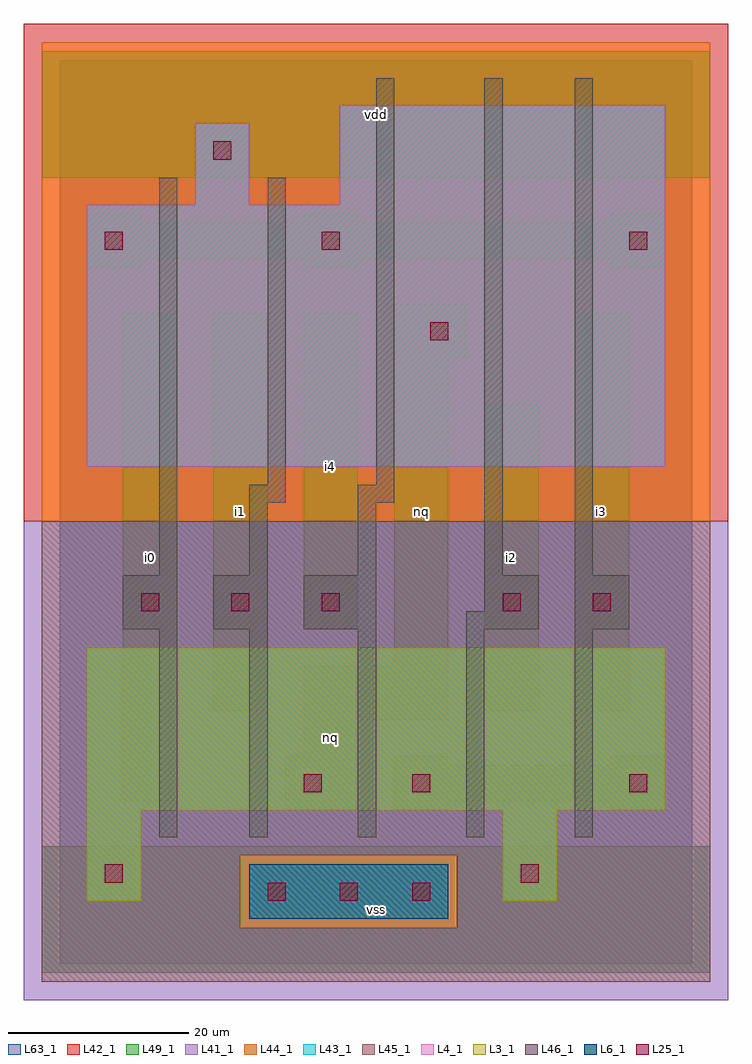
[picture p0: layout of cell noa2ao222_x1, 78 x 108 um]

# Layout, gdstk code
import gdstk
lib = gdstk.Library(unit=1e-6, precision=1e-09)
def R(c, l, rs):  # rectangles x0, y0, x1, y1
    for r in rs: c.add(gdstk.rectangle(r[:2], r[2:], *l))
def A(c, l, x, y, w, h, nx, ny, dx, dy):  # array of equal rectangles
    R(c, l, [(x+i*dx, y+j*dy, x+i*dx+w, y+j*dy+h) for i in range(nx) for j in range(ny)])
L3_1 = (3, 1)
L4_1 = (4, 1)
L6_1 = (6, 1)
L25_1 = (25, 1)
L41_1 = (41, 1)
L42_1 = (42, 1)
L43_1 = (43, 1)
L44_1 = (44, 1)
L45_1 = (45, 1)
L46_1 = (46, 1)
L49_1 = (49, 1)
L63_1 = (63, 1)

noa2ao222_x1 = lib.new_cell('noa2ao222_x1')
R(noa2ao222_x1, L3_1, [(3,7,9,17), (49,7,55,17), (3,17,67,35)])
R(noa2ao222_x1, L4_1, [(3,55,67,84), (15,84,21,93), (31,84,67,95)])
R(noa2ao222_x1, L6_1, [(21,5,43,11)])
A(noa2ao222_x1, L25_1, 23, 7, 2, 2, 3, 1, 8, 0)
A(noa2ao222_x1, L25_1, 9, 39, 2, 2, 3, 1, 10, 0)
R(noa2ao222_x1, L25_1, [(5,9,7,11), (51,9,53,11), (27,19,29,21), (39,19,41,21), (63,19,65,21), (49,39,51,41), (59,39,61,41), (41,69,43,71), (5,79,7,81), (29,79,31,81), (63,79,65,81), (17,89,19,91)])
R(noa2ao222_x1, L41_1, [(-4,-4,74,49)])
R(noa2ao222_x1, L42_1, [(-4,49,74,104)])
R(noa2ao222_x1, L43_1, [(21,5,43,11), (3,7,9,17), (49,7,55,17), (3,17,67,35), (3,55,67,84), (15,84,21,93), (31,84,67,95)])
R(noa2ao222_x1, L44_1, [(20,4,44,12), (-2,49,72,102)])
R(noa2ao222_x1, L45_1, [(-2,-2,72,4), (-2,4,20,12), (44,4,72,12), (-2,12,72,49)])
A(noa2ao222_x1, L46_1, 21, 14, 2, 23, 4, 1, 12, 0)
R(noa2ao222_x1, L46_1, [(11,14,13,37), (7,37,13,43), (17,37,23,43), (27,37,35,43), (45,37,53,39), (57,37,63,43), (47,39,53,43), (11,43,13,87), (21,43,23,51), (33,43,35,51), (47,43,49,98), (57,43,59,98), (21,51,25,53), (33,51,37,53), (23,53,25,87), (35,53,37,98)])
R(noa2ao222_x1, L49_1, [(-2,-1,72,13), (25,17,33,23), (37,17,43,18), (61,17,67,18), (7,18,13,72), (37,18,67,22), (37,22,43,23), (61,22,67,23), (27,23,33,27), (27,27,43,33), (17,28,23,72), (47,28,53,62), (57,28,63,72), (37,33,43,67), (27,37,33,72), (37,67,45,73), (3,77,9,78), (27,77,33,78), (61,77,67,78), (3,78,67,82), (3,82,9,83), (27,82,33,83), (61,82,67,83), (-2,87,72,101)])
R(noa2ao222_x1, L63_1, [(0,0,70,100)])
noa2ao222_x1.add(gdstk.Label('i0', (10,45), layer=49, texttype=1))
noa2ao222_x1.add(gdstk.Label('i0', (10,45), layer=49, texttype=1))
noa2ao222_x1.add(gdstk.Label('nq', (30,25), layer=49, texttype=1))
noa2ao222_x1.add(gdstk.Label('nq', (30,25), layer=49, texttype=1))
noa2ao222_x1.add(gdstk.Label('i1', (20,50), layer=49, texttype=1))
noa2ao222_x1.add(gdstk.Label('i1', (20,50), layer=49, texttype=1))
noa2ao222_x1.add(gdstk.Label('i4', (30,55), layer=49, texttype=1))
noa2ao222_x1.add(gdstk.Label('i4', (30,55), layer=49, texttype=1))
noa2ao222_x1.add(gdstk.Label('vss', (35,6), layer=49, texttype=1))
noa2ao222_x1.add(gdstk.Label('vss', (35,6), layer=49, texttype=1))
noa2ao222_x1.add(gdstk.Label('i2', (50,45), layer=49, texttype=1))
noa2ao222_x1.add(gdstk.Label('i2', (50,45), layer=49, texttype=1))
noa2ao222_x1.add(gdstk.Label('nq', (40,50), layer=49, texttype=1))
noa2ao222_x1.add(gdstk.Label('nq', (40,50), layer=49, texttype=1))
noa2ao222_x1.add(gdstk.Label('vdd', (35,94), layer=49, texttype=1))
noa2ao222_x1.add(gdstk.Label('vdd', (35,94), layer=49, texttype=1))
noa2ao222_x1.add(gdstk.Label('i3', (60,50), layer=49, texttype=1))
noa2ao222_x1.add(gdstk.Label('i3', (60,50), layer=49, texttype=1))

lib.write_gds('noa2ao222_x1.gds')
